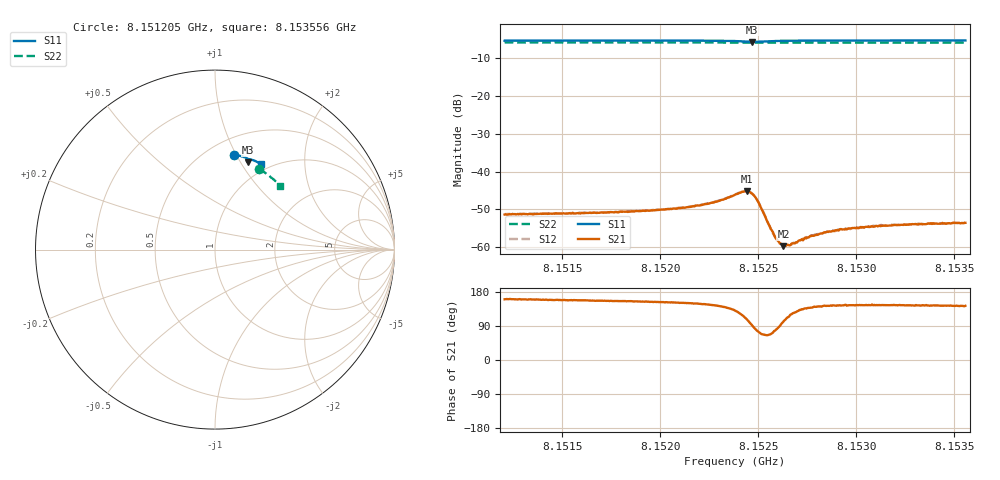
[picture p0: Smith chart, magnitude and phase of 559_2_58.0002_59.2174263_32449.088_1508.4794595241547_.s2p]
#  HZ  S  RI  R  50.00
! Rohde & Schwarz Vector Network Analyzer
! Rohde-Schwarz,ZNB20-2Port,1311601062101988,3.16
! Created: UTC 3/21/2024, 1:15:20 AM
! freq[Hz]  re:S11  im:S11  re:S21  im:S21  re:S12  im:S12  re:S22  im:S22
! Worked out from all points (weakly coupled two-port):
!   401 points, 8.151205 GHz to 8.153556 GHz, reference 50 ohm
!   highest |S21| = -45.22 dB at 8.152439 GHz (marker M1); lowest = -59.7 dB at 8.152627 GHz (marker M2)
!   lowest |S11| = -5.7 dB at 8.152469 GHz (marker M3), VSWR 3.17, Z = 40.2 + j53.7 ohm
!   |S11| at or under -10 dB: nowhere
!   |S22| runs from -5.9 to -5.8 dB; largest |S21 - S12| = 0.00012
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8.1512053e9  0.1044 0.5292  -0.00255 0.000917  -0.00259 0.000967  0.2452 0.4488
8.151599e9  0.1318 0.5239  -0.00262 0.0011  -0.00259 0.00116  0.2667 0.4357
8.1519927e9  0.1595 0.5164  -0.00278 0.00142  -0.00275 0.00148  0.2876 0.4214
8.1521161e9  0.1685 0.5134  -0.00292 0.00162  -0.0029 0.00165  0.294 0.4169
8.152216e9  0.1763 0.5102  -0.00307 0.00197  -0.00307 0.00199  0.2991 0.413
8.1522865e9  0.1821 0.507  -0.00322 0.00238  -0.00326 0.00244  0.3027 0.4104
8.1523806e9  0.1894 0.4984  -0.0032 0.00376  -0.00321 0.0038  0.3075 0.4063
8.1524158e9  0.1899 0.4928  -0.00259 0.00473  -0.00257 0.00474  0.309 0.4047
8.1524393e9  0.1876 0.4888  -0.00171 0.00521  -0.00165 0.00528  0.31 0.4038
8.1524687e9  0.1816 0.4873  -7.29e-05 0.00508  -2.84e-07 0.00511  0.3112 0.4028
8.1524863e9  0.1785 0.4891  0.000741 0.00445  0.000799 0.00445  0.312 0.4021
8.152504e9  0.1769 0.4925  0.00109 0.00357  0.00119 0.0036  0.3129 0.4016
8.152551e9  0.1798 0.5  0.00082 0.00187  0.000839 0.00186  0.3153 0.4001
8.1525862e9  0.184 0.5024  0.000275 0.00132  0.000301 0.00129  0.317 0.3987
8.1526097e9  0.1868 0.5029  -3.54e-06 0.00112  1.63e-05 0.00112  0.3183 0.3977
8.1526274e9  0.1887 0.5033  -0.0002 0.00101  -0.000196 0.00104  0.3191 0.397
8.1526509e9  0.1914 0.5032  -0.00042 0.000991  -0.000439 0.00101  0.3203 0.3962
8.1526744e9  0.1936 0.5031  -0.000616 0.000946  -0.000605 0.000957  0.3216 0.3952
8.1527743e9  0.2022 0.5013  -0.00106 0.000944  -0.00108 0.000949  0.3264 0.391
8.152927e9  0.2138 0.4975  -0.00139 0.00101  -0.00139 0.00103  0.3338 0.3846
8.153168e9  0.2302 0.491  -0.00158 0.00112  -0.00159 0.00114  0.3451 0.3739
8.1535558e9  0.2551 0.4793  -0.00168 0.00127  -0.00169 0.00134  0.3624 0.3565
